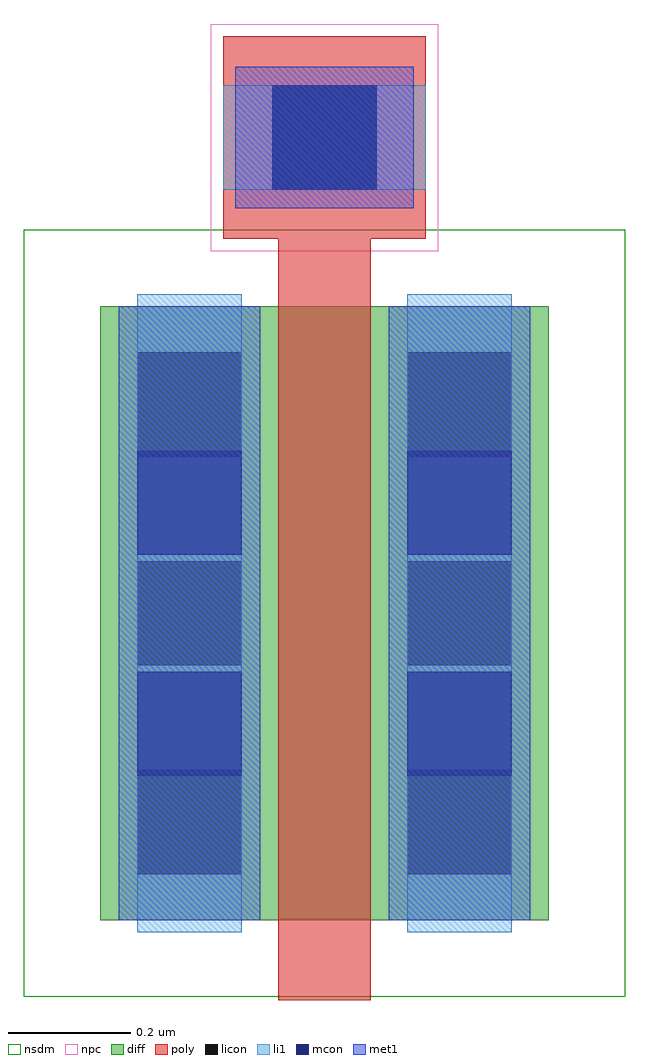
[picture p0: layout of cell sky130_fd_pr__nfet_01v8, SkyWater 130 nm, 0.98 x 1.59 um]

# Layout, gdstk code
import gdstk
lib = gdstk.Library(unit=1e-6, precision=1e-09)
def R(c, l, rs):  # rectangles x0, y0, x1, y1
    for r in rs: c.add(gdstk.rectangle(r[:2], r[2:], *l))
def A(c, l, x, y, w, h, nx, ny, dx, dy):  # array of equal rectangles
    R(c, l, [(x+i*dx, y+j*dy, x+i*dx+w, y+j*dy+h) for i in range(nx) for j in range(ny)])
diff = (65, 20)
poly = (66, 20)
licon = (66, 44)
li1 = (67, 20)
mcon = (67, 44)
met1 = (68, 20)
nsdm = (93, 44)
npc = (95, 20)

sky130_fd_pr__nfet_01v8 = lib.new_cell('sky130_fd_pr__nfet_01v8')
R(sky130_fd_pr__nfet_01v8, diff, [(-0.365,-0.655,0.365,0.345)])
R(sky130_fd_pr__nfet_01v8, poly, [(-0.075,-0.785,0.075,0.455), (-0.165,0.455,0.165,0.785)])
A(sky130_fd_pr__nfet_01v8, licon, -0.305, -0.58, 0.17, 0.17, 1, 3, 0, 0.34)
A(sky130_fd_pr__nfet_01v8, licon, 0.135, -0.58, 0.17, 0.17, 1, 3, 0, 0.34)
R(sky130_fd_pr__nfet_01v8, licon, [(-0.085,0.535,0.085,0.705)])
R(sky130_fd_pr__nfet_01v8, li1, [(-0.305,-0.675,-0.135,0.365), (0.135,-0.675,0.305,0.365), (-0.165,0.535,0.165,0.705)])
R(sky130_fd_pr__nfet_01v8, mcon, [(-0.305,-0.42,-0.135,-0.25), (0.135,-0.42,0.305,-0.25), (-0.305,-0.06,-0.135,0.11), (0.135,-0.06,0.305,0.11), (-0.085,0.535,0.085,0.705)])
R(sky130_fd_pr__nfet_01v8, met1, [(-0.335,-0.655,-0.105,0.345), (0.105,-0.655,0.335,0.345), (-0.145,0.505,0.145,0.735)])
R(sky130_fd_pr__nfet_01v8, nsdm, [(-0.49,-0.78,0.49,0.47)])
R(sky130_fd_pr__nfet_01v8, npc, [(-0.185,0.435,0.185,0.805)])

lib.write_gds('sky130_fd_pr__nfet_01v8.gds')
